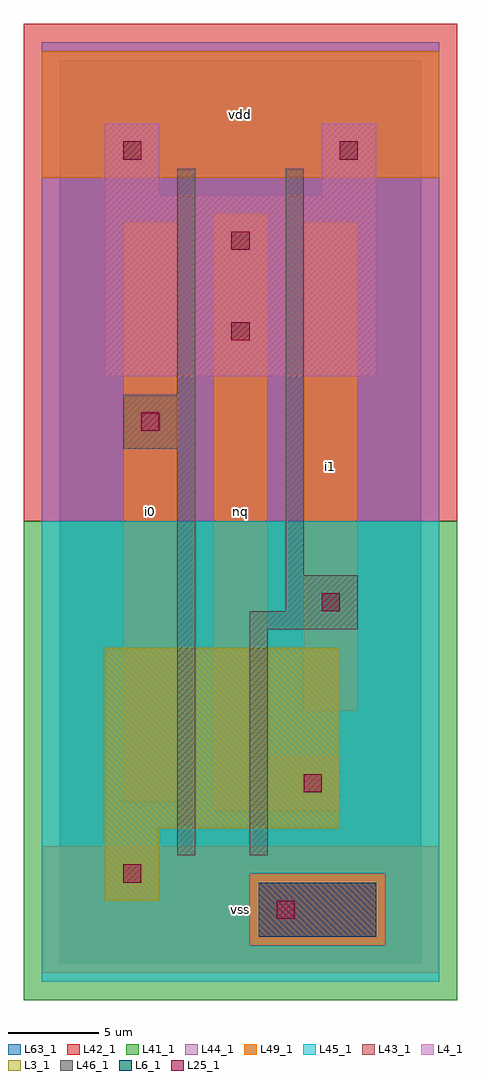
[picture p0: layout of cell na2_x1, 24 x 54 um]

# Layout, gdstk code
import gdstk
lib = gdstk.Library(unit=1e-6, precision=1e-09)
def R(c, l, rs):  # rectangles x0, y0, x1, y1
    for r in rs: c.add(gdstk.rectangle(r[:2], r[2:], *l))
L3_1 = (3, 1)
L4_1 = (4, 1)
L6_1 = (6, 1)
L25_1 = (25, 1)
L41_1 = (41, 1)
L42_1 = (42, 1)
L43_1 = (43, 1)
L44_1 = (44, 1)
L45_1 = (45, 1)
L46_1 = (46, 1)
L49_1 = (49, 1)
L63_1 = (63, 1)

na2_x1 = lib.new_cell('na2_x1')
R(na2_x1, L3_1, [(2.5,3.5,5.5,7.5), (2.5,7.5,15.5,17.5)])
R(na2_x1, L4_1, [(2.5,32.5,17.5,42.5), (2.5,42.5,5.5,46.5), (14.5,42.5,17.5,46.5)])
R(na2_x1, L6_1, [(11,1.5,17.5,4.5)])
R(na2_x1, L25_1, [(12,2.5,13,3.5), (3.5,4.5,4.5,5.5), (13.5,9.5,14.5,10.5), (14.5,19.5,15.5,20.5), (4.5,29.5,5.5,30.5), (9.5,34.5,10.5,35.5), (9.5,39.5,10.5,40.5), (3.5,44.5,4.5,45.5), (15.5,44.5,16.5,45.5)])
R(na2_x1, L41_1, [(-2,-2,22,24.5)])
R(na2_x1, L42_1, [(-2,24.5,22,52)])
R(na2_x1, L43_1, [(11,1.5,17.5,4.5), (2.5,3.5,5.5,7.5), (2.5,7.5,15.5,17.5), (2.5,32.5,17.5,42.5), (2.5,42.5,5.5,46.5), (14.5,42.5,17.5,46.5)])
R(na2_x1, L44_1, [(10.5,1,18,5), (-1,24.5,21,51)])
R(na2_x1, L45_1, [(-1,-1,21,1), (-1,1,10.5,5), (18,1,21,5), (-1,5,21,24.5)])
R(na2_x1, L46_1, [(6.5,6,7.5,28.5), (10.5,6,11.5,18.5), (10.5,18.5,16.5,19.5), (12.5,19.5,16.5,21.5), (12.5,21.5,13.5,44), (3.5,28.5,7.5,31.5), (6.5,31.5,7.5,44)])
R(na2_x1, L49_1, [(-1,-0.5,21,6.5), (8.5,8.5,15.5,11.5), (3.5,9,6.5,41), (8.5,11.5,11.5,41.5), (13.5,14,16.5,41), (-1,43.5,21,50.5)])
R(na2_x1, L63_1, [(0,0,20,50)])
na2_x1.add(gdstk.Label('i0', (5,25), layer=49, texttype=1))
na2_x1.add(gdstk.Label('i0', (5,25), layer=49, texttype=1))
na2_x1.add(gdstk.Label('vss', (10,3), layer=49, texttype=1))
na2_x1.add(gdstk.Label('vss', (10,3), layer=49, texttype=1))
na2_x1.add(gdstk.Label('nq', (10,25), layer=49, texttype=1))
na2_x1.add(gdstk.Label('nq', (10,25), layer=49, texttype=1))
na2_x1.add(gdstk.Label('i1', (15,27.5), layer=49, texttype=1))
na2_x1.add(gdstk.Label('i1', (15,27.5), layer=49, texttype=1))
na2_x1.add(gdstk.Label('vdd', (10,47), layer=49, texttype=1))
na2_x1.add(gdstk.Label('vdd', (10,47), layer=49, texttype=1))

lib.write_gds('na2_x1.gds')
